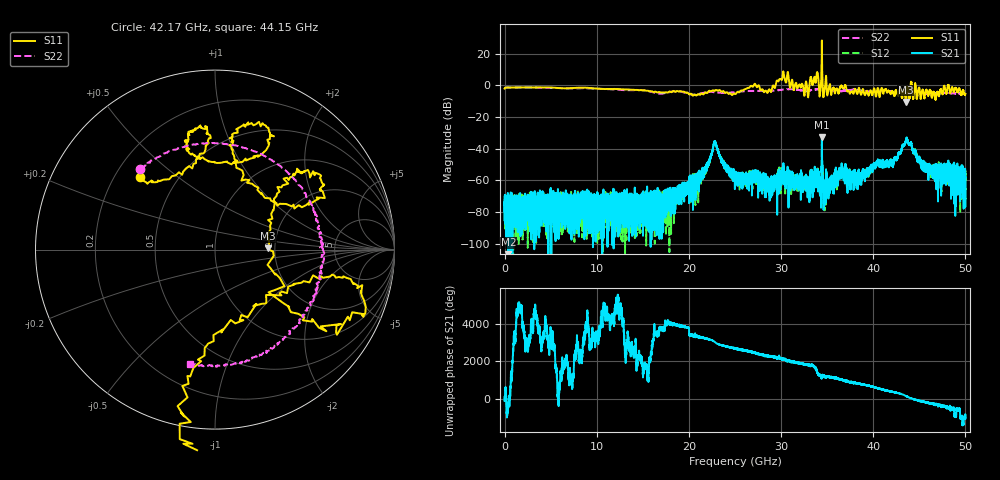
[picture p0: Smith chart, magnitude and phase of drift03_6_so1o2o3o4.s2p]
!Created with skrf (http://scikit-rf.org).
# Hz S RI R 50.0
!freq ReS11 ImS11 ReS21 ImS21 ReS12 ImS12 ReS22 ImS22
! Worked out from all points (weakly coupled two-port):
!   10000 points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, 5.3 MHz to 50 GHz, reference 50 ohm
!   highest |S21| = -32.84 dB at 34.43 GHz (marker M1); lowest = -117.0 dB at 425.3 MHz (marker M2)
!   lowest |S11| = -10.6 dB at 43.53 GHz (marker M3), VSWR 1.84, Z = 92 + j1.3 ohm
!   |S11| at or under -10 dB: 43.51346 GHz to 43.53702 GHz (23.56 MHz wide, 0.0541 % of centre); 43.54765 GHz to 43.55342 GHz (5.772 MHz wide, 0.0133 % of centre)
!   |S22| runs from -5.9 to -1.3 dB; largest |S21 - S12| = 0.01
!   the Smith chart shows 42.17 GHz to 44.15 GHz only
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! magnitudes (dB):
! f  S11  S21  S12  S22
! 5.3 MHz  -2.1  -74.0  -76.3  -2.1
! 425.3 MHz  -1.4  -117.0  -78.1  -1.5
! 8.34 GHz  -1.5  -79.6  -72.8  -1.9
! 16.67 GHz  -4.4  -80.4  -77.2  -5.2
! 21.26 GHz  -5.8  -56.5  -58.3  -5.2
! 22.82 GHz  -3.4  -35.2  -35.7  -4.5
! 23.83 GHz  -4.3  -50.2  -50.2  -4.9
! 25.01 GHz  -5.5  -59.9  -58.5  -4.2
! 27.02 GHz  -0.4  -54.9  -56.5  -3.6
! 28.72 GHz  -2.5  -62.0  -60.5  -3.5
! 30.14 GHz  4.3  -57.1  -59.1  -2.8
! 32.74 GHz  2.1  -58.7  -59.7  -3.3
! 33.34 GHz  2.6  -56.2  -59.1  -2.9
! 33.82 GHz  3.9  -57.5  -60.9  -2.6
! 34.43 GHz  28.3  -32.8  -34.7  -2.3
! 35.39 GHz  -3.8  -58.2  -63.2  -2.8
! 36.79 GHz  -1.7  -57.8  -57.1  -3.4
! 38.45 GHz  -1.5  -55.8  -58.1  -3.1
! 41.67 GHz  -3.5  -51.0  -50.3  -3.7
! 43.53 GHz  -10.6  -35.4  -35.1  -4.2
! 46.25 GHz  -4.2  -56.0  -51.2  -5.6
! 50 GHz  -5.4  -57.8  -53.6  -5.0
